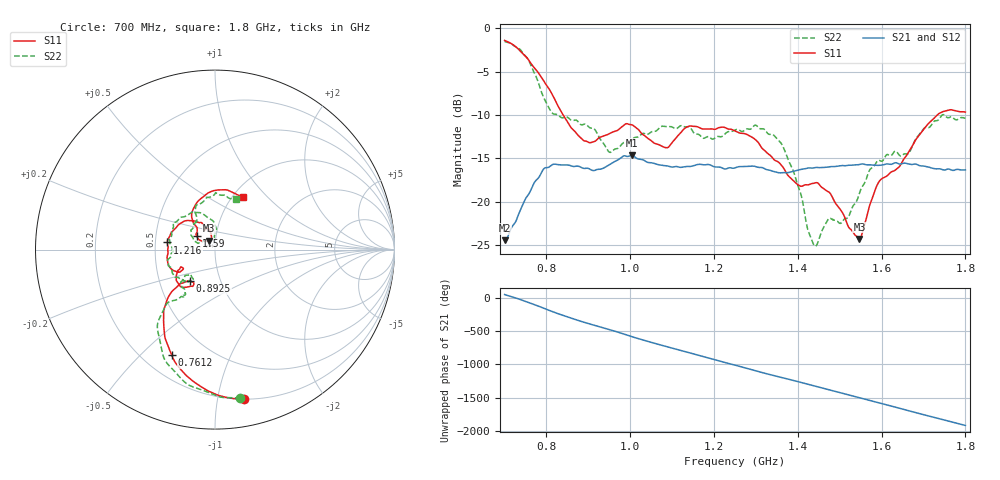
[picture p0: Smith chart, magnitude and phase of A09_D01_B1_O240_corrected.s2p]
! Created with skrf 1.9.0 (http://scikit-rf.org).
# Hz S RI R 50.0
!freq ReS11 ImS11 ReS21 ImS21 ReS12 ImS12 ReS22 ImS22
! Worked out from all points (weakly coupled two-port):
!   1601 points, 700 MHz to 1.8 GHz, reference 50 ohm
!   highest |S21| = -14.67 dB at 1.005 GHz (marker M1); lowest = -24.5 dB at 700 MHz (marker M2)
!   lowest |S11| = -24.3 dB at 1.547 GHz (marker M3), VSWR 1.13, Z = 46.3 + j4.61 ohm
!   |S11| at or under -10 dB: 839.7 MHz to 1.733 GHz (892.9 MHz wide, 69.4 % of centre)
!   |S22| runs from -25.1 to -1.5 dB; largest |S21 - S12| = 0.0038
!   S11 on the Smith chart (normalised r, x): 700 MHz: 0.20, -1.19; 761.2 MHz: 0.32, -0.62; 892.5 MHz: 0.72, -0.27; 1.216 GHz: 0.58, +0.05; 1.59 GHz: 0.81, +0.12; 1.8 GHz: 1.11, +0.73
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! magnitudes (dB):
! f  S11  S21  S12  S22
! 700 MHz  -1.4  -24.5  -24.2  -1.5
! 761.2 MHz  -3.9  -18.8  -18.7  -4.1
! 812.1 MHz  -7.5  -15.8  -15.7  -9.7
! 883.6 MHz  -12.7  -16.1  -16.0  -11.1
! 892.5 MHz  -13.0  -16.2  -16.2  -11.0
! 950.9 MHz  -12.1  -15.7  -15.7  -14.3
! 1.005 GHz  -11.1  -14.7  -14.8  -12.8
! 1.067 GHz  -13.4  -15.7  -15.7  -11.6
! 1.216 GHz  -11.4  -16.0  -16.0  -12.5
! 1.25 GHz  -11.8  -16.1  -16.0  -11.7
! 1.3 GHz  -12.9  -16.0  -15.9  -11.2
! 1.359 GHz  -15.7  -16.7  -16.7  -13.2
! 1.405 GHz  -18.2  -16.3  -16.3  -18.8
! 1.434 GHz  -17.9  -16.1  -16.1  -24.5
! 1.476 GHz  -19.0  -16.0  -16.0  -21.9
! 1.518 GHz  -22.6  -15.8  -15.8  -21.9
! 1.547 GHz  -24.3  -15.7  -15.7  -19.0
! 1.59 GHz  -18.0  -15.8  -15.8  -15.3
! 1.617 GHz  -16.8  -15.7  -15.6  -14.6
! 1.663 GHz  -14.4  -15.6  -15.6  -14.5
! 1.735 GHz  -9.9  -16.2  -16.3  -10.6
! 1.8 GHz  -9.7  -16.3  -16.3  -10.4
